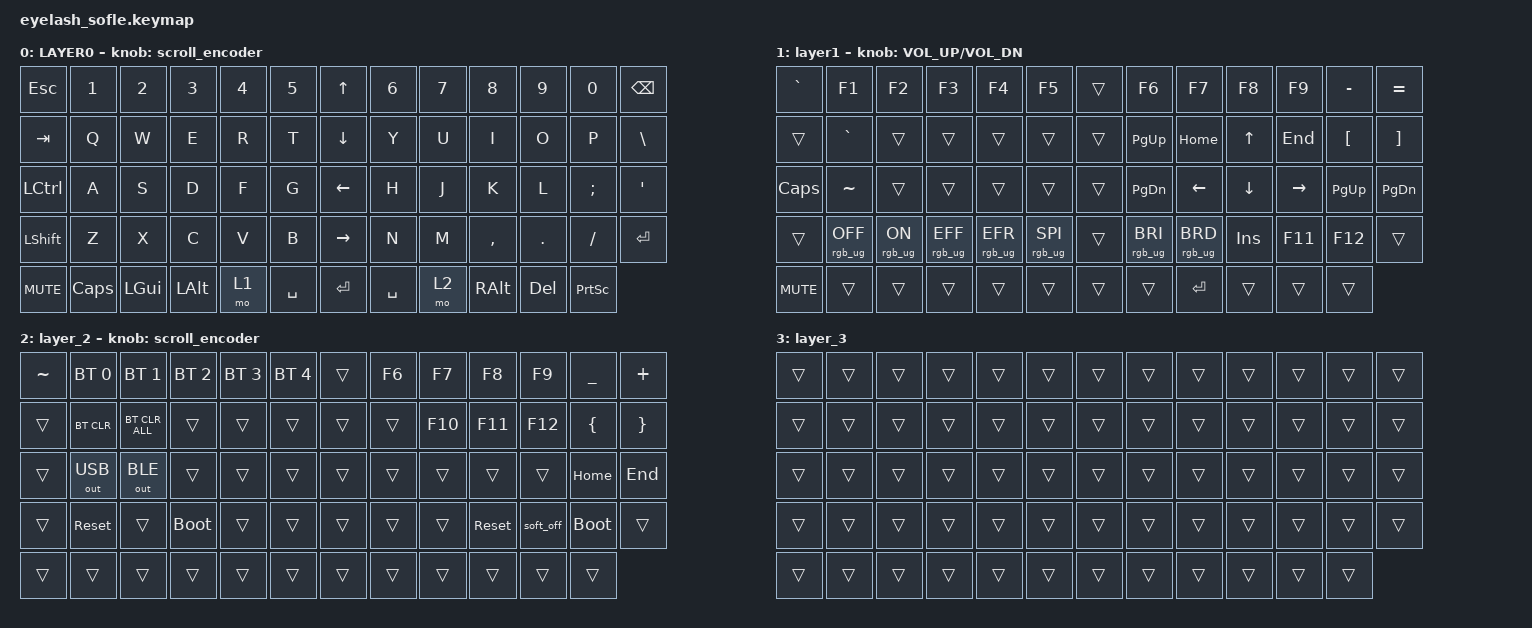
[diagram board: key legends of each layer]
#define ZMK_POINTING_DEFAULT_MOVE_VAL 1200  // 600
#define ZMK_POINTING_DEFAULT_SCRL_VAL 35    // 10

#include <input/processors.dtsi>
#include <zephyr/dt-bindings/input/input-event-codes.h>
#include <behaviors.dtsi>
#include <dt-bindings/zmk/bt.h>
#include <dt-bindings/zmk/keys.h>
#include <dt-bindings/zmk/outputs.h>
#include <dt-bindings/zmk/pointing.h>
#include <dt-bindings/zmk/rgb.h>

/ {
    zip_scroll_scaler: zip_scroll_scaler {
        compatible = "zmk,input-processor-scaler";
        #input-processor-cells = <2>;
        type = <INPUT_EV_REL>;
        codes = <INPUT_REL_WHEEL INPUT_REL_HWHEEL>;
        track-remainders;
    };
};

&mmv_input_listener { input-processors = <&zip_xy_scaler 2 1>; };

&msc_input_listener { input-processors = <&zip_scroll_scaler 2 1>; };

&msc {
    acceleration-exponent = <0>;      // 0
    time-to-max-speed-ms = <0>;       // 300
    delay-ms = <0>;                   // 0
};

&mmv {
    time-to-max-speed-ms = <400>;
    acceleration-exponent = <1>;
};

/ {
    scroll_encoder: scroll_encoder {
        compatible = "zmk,behavior-sensor-rotate";
        #sensor-binding-cells = <0>;
        bindings = <&msc SCRL_DOWN>, <&msc SCRL_UP>;

        tap-ms = <100>;
    };

    macros {
        shift_MB3: shift_MB3 {
            compatible = "zmk,behavior-macro";
            #binding-cells = <0>;
            bindings =
                <&macro_press>,
                <&kp LEFT_SHIFT>,
                <&macro_press>,
                <&mkp MB3>,
                <&macro_pause_for_release>,
                <&macro_release>,
                <&mkp MB3 &kp LEFT_SHIFT>;

            label = "SHIFT_MB3";
        };
    };

    behaviors {
    };

    keymap {
        compatible = "zmk,keymap";

        layer0 {
            bindings = <
&kp ESC     &kp N1    &kp N2        &kp N3        &kp N4  &kp N5       &kp UP_ARROW     &kp N6     &kp N7  &kp N8     &kp N9   &kp N0           &kp BACKSPACE
&kp TAB     &kp Q     &kp W         &kp E         &kp R   &kp T        &kp DOWN_ARROW   &kp Y      &kp U   &kp I      &kp O    &kp P            &kp BACKSLASH
&kp LCTRL   &kp A     &kp S         &kp D         &kp F   &kp G        &kp LEFT_ARROW   &kp H      &kp J   &kp K      &kp L    &kp SEMI         &kp APOS
&kp LSHFT   &kp Z     &kp X         &kp C         &kp V   &kp B        &kp RIGHT_ARROW  &kp N      &kp M   &kp COMMA  &kp DOT  &kp FSLH         &kp ENTER
&kp C_MUTE  &kp CAPS  &kp LEFT_GUI  &kp LEFT_ALT  &mo 1   &kp SPACE    &kp ENTER        &kp SPACE  &mo 2   &kp RALT   &kp DEL  &kp PRINTSCREEN
            >;

            sensor-bindings = <&scroll_encoder>;
            display-name = "LAYER0";
        };

        layer_1 {
            bindings = <
&kp GRAVE   &kp F1           &kp F2          &kp F3           &kp F4           &kp F5             &trans  &kp F6           &kp F7           &kp F8      &kp F9     &kp MINUS         &kp EQUAL
&trans      &kp GRAVE        &trans          &trans           &trans           &trans             &trans  &kp PG_UP        &kp HOME         &kp UP      &kp END    &kp LEFT_BRACKET  &kp RIGHT_BRACKET
&kp CAPS    &kp TILDE        &trans          &trans           &trans           &trans             &trans  &kp PG_DN        &kp LEFT         &kp DOWN    &kp RIGHT  &kp PAGE_UP       &kp PAGE_DOWN
&trans      &rgb_ug RGB_OFF  &rgb_ug RGB_ON  &rgb_ug RGB_EFF  &rgb_ug RGB_EFR  &rgb_ug RGB_SPI    &trans  &rgb_ug RGB_BRI  &rgb_ug RGB_BRD  &kp INSERT  &kp F11    &kp F12           &trans
&kp C_MUTE  &trans           &trans          &trans           &trans           &trans             &trans  &trans           &kp ENTER        &trans      &trans     &trans
            >;

            display-name = "layer1";
            sensor-bindings = <&inc_dec_kp C_VOLUME_UP C_VOL_DN>;
        };

        layer_2 {
            bindings = <
&kp TILDE  &bt BT_SEL 0  &bt BT_SEL 1    &bt BT_SEL 2  &bt BT_SEL 3  &bt BT_SEL 4    &trans  &kp F6  &kp F7   &kp F8      &kp F9     &kp UNDERSCORE  &kp PLUS
&trans     &bt BT_CLR    &bt BT_CLR_ALL  &trans        &trans        &trans          &trans  &trans  &kp F10  &kp F11     &kp F12    &kp LEFT_BRACE  &kp RIGHT_BRACE
&trans     &out OUT_USB  &out OUT_BLE    &trans        &trans        &trans          &trans  &trans  &trans   &trans      &trans     &kp HOME        &kp END
&trans     &sys_reset    &trans          &bootloader   &trans        &trans          &trans  &trans  &trans   &sys_reset  &soft_off  &bootloader     &trans
&trans     &trans        &trans          &trans        &trans        &trans          &trans  &trans  &trans   &trans      &trans     &trans
            >;

            sensor-bindings = <&scroll_encoder>;
        };

        layer_3 {
            bindings = <
&trans  &trans  &trans  &trans  &trans  &trans    &trans  &trans  &trans  &trans  &trans  &trans  &trans
&trans  &trans  &trans  &trans  &trans  &trans    &trans  &trans  &trans  &trans  &trans  &trans  &trans
&trans  &trans  &trans  &trans  &trans  &trans    &trans  &trans  &trans  &trans  &trans  &trans  &trans
&trans  &trans  &trans  &trans  &trans  &trans    &trans  &trans  &trans  &trans  &trans  &trans  &trans
&trans  &trans  &trans  &trans  &trans  &trans    &trans  &trans  &trans  &trans  &trans  &trans
            >;
        };
    };
};
